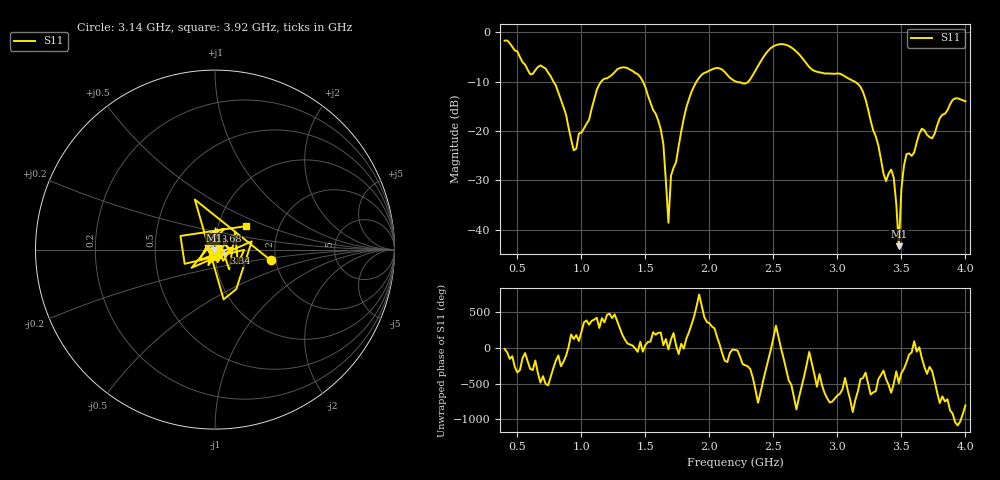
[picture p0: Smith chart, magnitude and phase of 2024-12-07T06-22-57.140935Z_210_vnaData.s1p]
!Created with skrf (http://scikit-rf.org).
# Hz S RI R 50.0
!freq ReS11 ImS11
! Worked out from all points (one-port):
!   181 points, 400 MHz to 4 GHz, reference 50 ohm
!   lowest |S11| = -43.3 dB at 3.48 GHz (marker M1), VSWR 1.01, Z = 49.5 - j0.484 ohm
!   |S11| at or under -10 dB: 782.2 MHz to 1.154 GHz (371.9 MHz wide, 38.4 % of centre); 1.481 GHz to 1.898 GHz (416.9 MHz wide, 24.7 % of centre); 3.138 GHz to end of sweep (the widest 3 of 4)
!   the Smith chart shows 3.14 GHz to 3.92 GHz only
!   S11 on the Smith chart (normalised r, x): 3.14 GHz: 1.88, -0.24; 3.34 GHz: 1.10, -0.04; 3.68 GHz: 0.98, +0.20; 3.92 GHz: 1.35, +0.37
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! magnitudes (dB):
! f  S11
! 400 MHz  -1.7
! 600 MHz  -8.5
! 720 MHz  -7.3
! 860 MHz  -15.1
! 960 MHz  -23.6
! 1.14 GHz  -10.5
! 1.3 GHz  -7.2
! 1.46 GHz  -9.0
! 1.6 GHz  -17.8
! 1.64 GHz  -22.6
! 1.68 GHz  -38.6
! 1.7 GHz  -29.0
! 1.76 GHz  -23.0
! 1.94 GHz  -8.6
! 2.2 GHz  -9.9
! 2.66 GHz  -3.4
! 3.1 GHz  -9.5
! 3.14 GHz  -10.0
! 3.34 GHz  -25.7
! 3.44 GHz  -29.4
! 3.48 GHz  -43.3
! 3.5 GHz  -31.7
! 3.52 GHz  -27.0
! 3.56 GHz  -24.5
! 3.68 GHz  -19.8
! 3.74 GHz  -21.5
! 3.92 GHz  -13.4
! 4 GHz  -14.0
